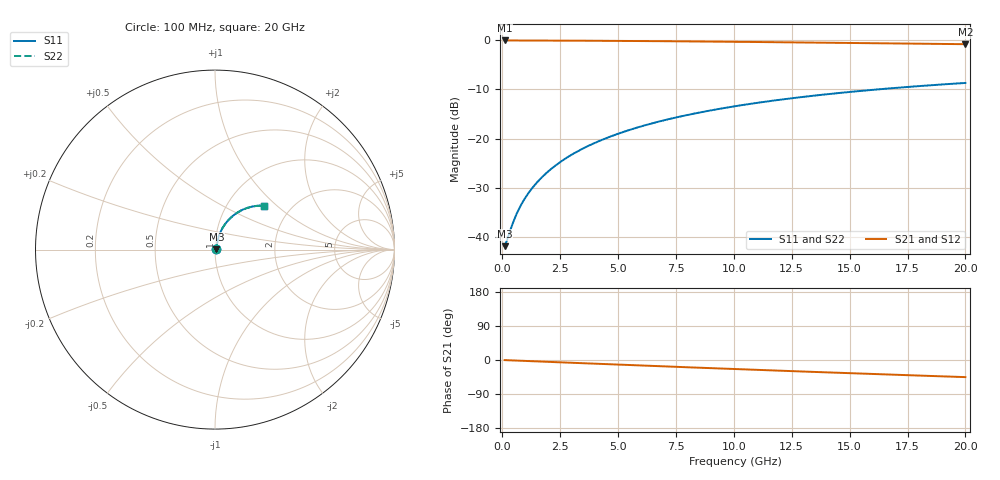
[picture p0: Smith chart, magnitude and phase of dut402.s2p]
! Touchstone file exported from HFSS 2026.1.0
!  File:  C:/ffzhzh/LocalFiles/Ansys_Project_Files/temp_train_TMRDL_402_1783004923_55676.aedt
!  Generated:  11:10:00 PM Jul  2, 2026
!  Design:  TMRDL
!  Project:  temp_train_TMRDL_402_1783004923_55676
! Variables:
!  h_bsmrdl = 2um
!  h_ox = 20um
!  h_rdl = 5um
!  h_sub = 80um
!  h_tmrdl = 3.08um
!  h_tsv = 80um
!  h_via = 3um
!  l_bsmrdl = 300um
!  l_sub = 1125.64um
!  l_tmrdl = 725.64um
!  m_sub = 200um
!  pitch = 23.27um
!  r_tsv = 6um
!  s_tmrdl = 10um
!  w_bsmrdl = 18um
!  w_sub = 500um
!  w_tmrdl = 10.79um
!  x_tsv_center1 = 731.035um
!  x_tsv_center2 = 1049.035um
!  x_tsv_center3 = 1785.465um
!  x_tsv_center4 = 2103.465um
!  x_tsv_center5 = 2839.895um
!  x_tsv_center6 = 3157.895um
# GHz S MA R 50.000000
! Terminal data exported
! Port[1] = TM_RDL1_1_T1
! Port[2] = TM_RDL1_1_T2
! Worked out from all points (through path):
!   200 points, 100 MHz to 20 GHz, reference 50 ohm
!   highest |S21| = -0.07 dB at 100 MHz (marker M1); lowest = -0.8 dB at 20 GHz (marker M2)
!   group delay of S21, straight-line fit = 6.28 ps
!   lowest |S11| = -41.8 dB at 100 MHz (marker M3), VSWR 1.02, Z = 50.8 + j0.253 ohm
!   |S11| at or under -10 dB: start of sweep to 16.22 GHz
!   |S22| runs from -41.8 to -8.7 dB; largest |S21 - S12| = 3.1e-15
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0.1  0.008099 17.9  0.9923 -0.3  0.9923 -0.3  0.008099 17.9
! Gamma 0 0 0 0
! Port Impedance 50 0 50 0
0.2  0.009273 32.3  0.9922 -0.5  0.9922 -0.5  0.009273 32.3
0.4  0.01278 49.6  0.9918 -1.0  0.9918 -1.0  0.01278 49.6
0.5  0.01477 54.6  0.9916 -1.3  0.9916 -1.3  0.01477 54.6
0.7  0.0189 61.2  0.9913 -1.8  0.9913 -1.8  0.0189 61.2
0.8  0.021 63.4  0.9911 -2.0  0.9911 -2.0  0.021 63.4
1  0.02523 66.7  0.9908 -2.5  0.9908 -2.5  0.02523 66.7
1.3  0.03165 69.8  0.9903 -3.2  0.9903 -3.2  0.03165 69.8
1.7  0.0403 72.2  0.9898 -4.2  0.9898 -4.2  0.04031 72.2
2.2  0.05123 73.6  0.989 -5.4  0.989 -5.4  0.05123 73.6
2.8  0.06439 74.2  0.9879 -6.9  0.9879 -6.9  0.06439 74.2
3.5  0.07971 73.9  0.9864 -8.5  0.9864 -8.5  0.07971 73.9
4.2  0.09492 73.2  0.9847 -10.2  0.9847 -10.2  0.09493 73.2
5  0.1121 72.0  0.9823 -12.1  0.9823 -12.1  0.1121 72.0
5.9  0.1311 70.5  0.9793 -14.3  0.9793 -14.3  0.1311 70.4
6.8  0.1498 68.7  0.976 -16.4  0.976 -16.4  0.1498 68.7
8.3  0.1799 65.7  0.9698 -19.9  0.9698 -19.9  0.1799 65.6
10.1  0.2142 61.9  0.9614 -24.0  0.9614 -24.0  0.2143 61.9
11.7  0.2432 58.6  0.9535 -27.6  0.9535 -27.6  0.2432 58.5
13.4  0.2722 55.0  0.9446 -31.3  0.9446 -31.3  0.2722 54.9
16.7  0.3233 48.3  0.927 -38.4  0.927 -38.4  0.3233 48.2
20  0.3676 41.8  0.9095 -45.2  0.9095 -45.2  0.3676 41.7
